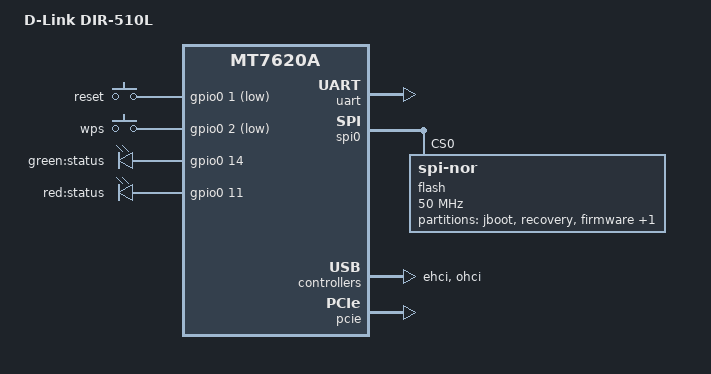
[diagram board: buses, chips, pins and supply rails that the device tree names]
// SPDX-License-Identifier: GPL-2.0-or-later OR MIT

#include "mt7620a.dtsi"

#include <dt-bindings/input/input.h>
#include <dt-bindings/gpio/gpio.h>
#include <dt-bindings/mtd/partitions/uimage.h>

/ {
	compatible = "dlink,dir-510l", "ralink,mt7620a-soc";
	model = "D-Link DIR-510L";

	aliases {
		led-boot = &led_status;
		led-failsafe = &led_status;
		led-running = &led_status;
		led-upgrade = &led_status;
	};

	chosen {
		bootargs = "console=ttyS1,57600";
	};

	keys {
		compatible = "gpio-keys";

		reset {
			label = "reset";
			gpios = <&gpio0 1 GPIO_ACTIVE_LOW>;
			linux,code = <KEY_RESTART>;
		};

		wps {
			label = "wps";
			gpios = <&gpio0 2 GPIO_ACTIVE_LOW>;
			linux,code = <KEY_WPS_BUTTON>;
		};
	};

	leds {
		compatible = "gpio-leds";

		led_status: status {
			label = "green:status";
			gpios = <&gpio0 14 GPIO_ACTIVE_HIGH>;
		};

		status-red {
			label = "red:status";
			gpios = <&gpio0 11 GPIO_ACTIVE_HIGH>;
		};
	};
};

&ethernet {
	mediatek,portmap = "llllw";
};

&uart {
	status = "okay";
};

&spi0 {
	status = "okay";

	flash@0 {
		compatible = "jedec,spi-nor";
		reg = <0>;
		spi-max-frequency = <50000000>;

		partitions {
			compatible = "fixed-partitions";
			#address-cells = <1>;
			#size-cells = <1>;

			partition@0 {
				label = "jboot";
				reg = <0x0 0x10000>;
				read-only;
			};

			partition@10000 {
				label = "recovery";
				reg = <0x10000 0x200000>;
				read-only;
			};

			partition@210000 {
				compatible = "openwrt,uimage", "denx,uimage";
				openwrt,ih-magic = <IH_MAGIC_OKLI>;
				openwrt,offset = <0x10000>;
				label = "firmware";
				reg = <0x210000 0xde0000>;
			};

			config: partition@ff0000 {
				label = "config";
				reg = <0xff0000 0x10000>;
				read-only;
			};
		};
	};
};

&ehci {
	status = "okay";
};

&ohci {
	status = "okay";
};

&pcie {
	status = "okay";
};

&pcie0 {
	mt76x0e@0,0 {
		reg = <0x0000 0 0 0 0>;
		nvmem-cells = <&macaddr_config_e490>;
		nvmem-cell-names = "mac-address";
		mac-address-increment = <(2)>;
		mediatek,mtd-eeprom = <&config 0xe05d>;
	};
};

&state_default {
	default {
		groups = "i2c", "uartf";
		function = "gpio";
	};
};

&config {
	compatible = "nvmem-cells";
	#address-cells = <1>;
	#size-cells = <1>;

	macaddr_config_e490: macaddr@e490 {
		reg = <0xe490 0x6>;
	};
};
